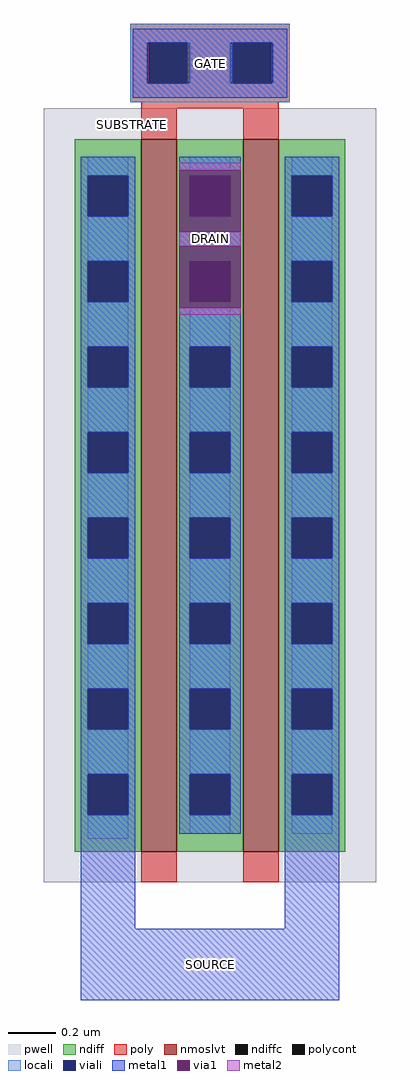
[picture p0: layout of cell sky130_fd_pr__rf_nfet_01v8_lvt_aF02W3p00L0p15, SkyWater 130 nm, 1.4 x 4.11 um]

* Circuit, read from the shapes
.subckt sky130_fd_pr__rf_nfet_01v8_lvt_aF02W3p00L0p15 DRAIN GATE SOURCE SUBSTRATE
XM1 DRAIN GATE SOURCE SUBSTRATE sky130_fd_pr__nfet_01v8_lvt w=3 l=0.15 m=2
.ends

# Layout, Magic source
magic
tech sky130A
magscale 1 2
<< pwell >>
rect 10 10 290 662
<< nmoslvt >>
rect 92 36 122 636
rect 178 36 208 636
<< ndiff >>
rect 36 605 92 636
rect 36 571 47 605
rect 81 571 92 605
rect 36 533 92 571
rect 36 499 47 533
rect 81 499 92 533
rect 36 461 92 499
rect 36 427 47 461
rect 81 427 92 461
rect 36 389 92 427
rect 36 355 47 389
rect 81 355 92 389
rect 36 317 92 355
rect 36 283 47 317
rect 81 283 92 317
rect 36 245 92 283
rect 36 211 47 245
rect 81 211 92 245
rect 36 173 92 211
rect 36 139 47 173
rect 81 139 92 173
rect 36 101 92 139
rect 36 67 47 101
rect 81 67 92 101
rect 36 36 92 67
rect 122 605 178 636
rect 122 571 133 605
rect 167 571 178 605
rect 122 533 178 571
rect 122 499 133 533
rect 167 499 178 533
rect 122 461 178 499
rect 122 427 133 461
rect 167 427 178 461
rect 122 389 178 427
rect 122 355 133 389
rect 167 355 178 389
rect 122 317 178 355
rect 122 283 133 317
rect 167 283 178 317
rect 122 245 178 283
rect 122 211 133 245
rect 167 211 178 245
rect 122 173 178 211
rect 122 139 133 173
rect 167 139 178 173
rect 122 101 178 139
rect 122 67 133 101
rect 167 67 178 101
rect 122 36 178 67
rect 208 605 264 636
rect 208 571 219 605
rect 253 571 264 605
rect 208 533 264 571
rect 208 499 219 533
rect 253 499 264 533
rect 208 461 264 499
rect 208 427 219 461
rect 253 427 264 461
rect 208 389 264 427
rect 208 355 219 389
rect 253 355 264 389
rect 208 317 264 355
rect 208 283 219 317
rect 253 283 264 317
rect 208 245 264 283
rect 208 211 219 245
rect 253 211 264 245
rect 208 173 264 211
rect 208 139 219 173
rect 253 139 264 173
rect 208 101 264 139
rect 208 67 219 101
rect 253 67 264 101
rect 208 36 264 67
<< ndiffc >>
rect 47 571 81 605
rect 47 499 81 533
rect 47 427 81 461
rect 47 355 81 389
rect 47 283 81 317
rect 47 211 81 245
rect 47 139 81 173
rect 47 67 81 101
rect 133 571 167 605
rect 133 499 167 533
rect 133 427 167 461
rect 133 355 167 389
rect 133 283 167 317
rect 133 211 167 245
rect 133 139 167 173
rect 133 67 167 101
rect 219 571 253 605
rect 219 499 253 533
rect 219 427 253 461
rect 219 355 253 389
rect 219 283 253 317
rect 219 211 253 245
rect 219 139 253 173
rect 219 67 253 101
<< poly >>
rect 83 717 217 733
rect 83 683 99 717
rect 133 683 167 717
rect 201 683 217 717
rect 83 667 217 683
rect 92 662 208 667
rect 92 636 122 662
rect 178 636 208 662
rect 92 10 122 36
rect 178 10 208 36
<< polycont >>
rect 99 683 133 717
rect 167 683 201 717
<< locali >>
rect 83 717 217 733
rect 83 683 97 717
rect 133 683 167 717
rect 203 683 217 717
rect 83 667 217 683
rect 47 605 81 621
rect 47 533 81 571
rect 47 461 81 499
rect 47 389 81 427
rect 47 317 81 355
rect 47 245 81 283
rect 47 173 81 211
rect 47 101 81 139
rect 47 47 81 67
rect 133 605 167 621
rect 133 533 167 571
rect 133 461 167 499
rect 133 389 167 427
rect 133 317 167 355
rect 133 245 167 283
rect 133 173 167 211
rect 133 101 167 139
rect 133 51 167 67
rect 219 605 253 621
rect 219 533 253 571
rect 219 461 253 499
rect 219 389 253 427
rect 219 317 253 355
rect 219 245 253 283
rect 219 173 253 211
rect 219 101 253 139
rect 219 51 253 67
<< viali >>
rect 97 683 99 717
rect 99 683 131 717
rect 169 683 201 717
rect 201 683 203 717
rect 47 571 81 605
rect 47 499 81 533
rect 47 427 81 461
rect 47 355 81 389
rect 47 283 81 317
rect 47 211 81 245
rect 47 139 81 173
rect 47 67 81 101
rect 133 571 167 605
rect 133 499 167 533
rect 133 427 167 461
rect 133 355 167 389
rect 133 283 167 317
rect 133 211 167 245
rect 133 139 167 173
rect 133 67 167 101
rect 219 571 253 605
rect 219 499 253 533
rect 219 427 253 461
rect 219 355 253 389
rect 219 283 253 317
rect 219 211 253 245
rect 219 139 253 173
rect 219 67 253 101
<< metal1 >>
rect 85 717 215 729
rect 85 683 97 717
rect 131 683 169 717
rect 203 683 215 717
rect 85 671 215 683
rect 41 605 87 621
rect 41 571 47 605
rect 81 571 87 605
rect 41 533 87 571
rect 41 499 47 533
rect 81 499 87 533
rect 41 461 87 499
rect 41 427 47 461
rect 81 427 87 461
rect 41 389 87 427
rect 41 355 47 389
rect 81 355 87 389
rect 41 317 87 355
rect 41 283 47 317
rect 81 283 87 317
rect 41 245 87 283
rect 41 211 47 245
rect 81 211 87 245
rect 41 173 87 211
rect 41 139 47 173
rect 81 139 87 173
rect 41 101 87 139
rect 41 67 47 101
rect 81 67 87 101
rect 41 -29 87 67
rect 124 610 176 621
rect 124 546 176 558
rect 124 461 176 494
rect 124 427 133 461
rect 167 427 176 461
rect 124 389 176 427
rect 124 355 133 389
rect 167 355 176 389
rect 124 317 176 355
rect 124 283 133 317
rect 167 283 176 317
rect 124 245 176 283
rect 124 211 133 245
rect 167 211 176 245
rect 124 173 176 211
rect 124 139 133 173
rect 167 139 176 173
rect 124 101 176 139
rect 124 67 133 101
rect 167 67 176 101
rect 124 51 176 67
rect 213 605 259 621
rect 213 571 219 605
rect 253 571 259 605
rect 213 533 259 571
rect 213 499 219 533
rect 253 499 259 533
rect 213 461 259 499
rect 213 427 219 461
rect 253 427 259 461
rect 213 389 259 427
rect 213 355 219 389
rect 253 355 259 389
rect 213 317 259 355
rect 213 283 219 317
rect 253 283 259 317
rect 213 245 259 283
rect 213 211 219 245
rect 253 211 259 245
rect 213 173 259 211
rect 213 139 219 173
rect 253 139 259 173
rect 213 101 259 139
rect 213 67 219 101
rect 253 67 259 101
rect 213 -29 259 67
rect 41 -89 259 -29
<< via1 >>
rect 124 605 176 610
rect 124 571 133 605
rect 133 571 167 605
rect 167 571 176 605
rect 124 558 176 571
rect 124 533 176 546
rect 124 499 133 533
rect 133 499 167 533
rect 167 499 176 533
rect 124 494 176 499
<< metal2 >>
rect 124 610 176 616
rect 124 546 176 558
rect 124 488 176 494
<< labels >>
flabel metal2 s 124 488 176 616 0 FreeSans 400 0 0 0 DRAIN
port 1 nsew
flabel metal1 s 41 -89 259 -29 0 FreeSans 400 0 0 0 SOURCE
port 3 nsew
flabel metal1 s 85 671 215 729 0 FreeSans 400 0 0 0 GATE
port 2 nsew
flabel pwell s 80 640 90 657 0 FreeSans 200 0 0 0 SUBSTRATE
port 4 nsew
<< properties >>
string GDS_FILE $PDKPATH/libs.ref/sky130_fd_pr/gds/sky130_fd_pr.gds
string GDS_END 5820926
string GDS_START 5814596
string path 5.900 15.525 5.900 -2.225 
<< end >>
